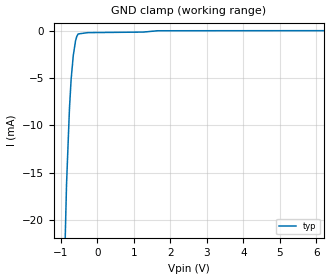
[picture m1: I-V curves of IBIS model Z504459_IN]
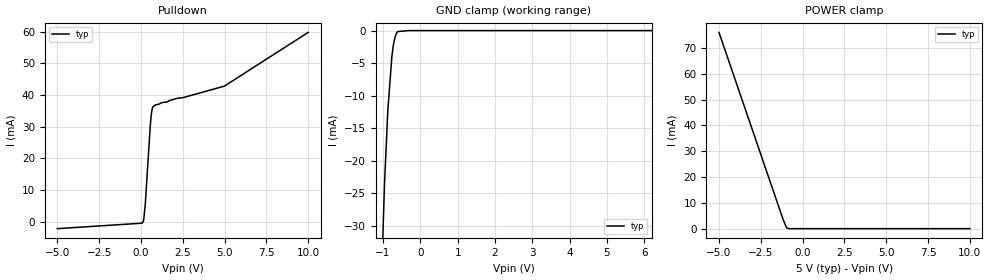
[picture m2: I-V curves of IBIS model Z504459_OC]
| YOU ARE ONLY AUTHORIZED TO USE THIS SOFTWARE
| ACCORDING TO LICENSOR'S LICENSE RESTRICTIONS.
[IBIS Ver] 3.1
[File Name] sn54ls49j.ibs
[File Rev] 2.0
[Source] Measured and created by ICX Technology
[Date] Friday 7/14/00 9:08:15 AM
[Copyright]
| (C) COPYRIGHT 1993-2000
| MENTOR GRAPHICS CORPORATION
| ICX STANDARD LIBRARY, ICX PROJECT MODELING,
| ICX CUSTOM MODELING, ICX VENDOR MODEL
| ALL RIGHTS RESERVED.
| THE FOLLOWING ARE TRADEMARKS OR SERVICE MARKS OF
| MENTOR GRAPHICS CORPORATION:ICX (R), ICX STANDARD
| LIBRARY(R), ICX PROJECT MODELING(R), ICX CUSTOM
| MODELING(R), qualityIBIS(TM), MODELVIEWER(TM),
| AND MODELEDITOR(TM)
| ALL COPIES OF SOFTWARE, INCLUDING BUT NOT LIMITED TO
| ANY MODIFICATIONS, ENHANCEMENTS OR DERIVATIVE WORKS,
| MUST CONTAIN ALL MENTOR GRAPHICS CORPORATION'S
| NOTICES AND LEGENDS, INCLUDING THOSE EMBEDDED IN
| SOFTWARE AND THOSE AFFIXED TO SOFTWARE MEDIUM
| AND CONTAINER, AS RECEIVED FROM MENTOR GRAPHICS
| CORPORATION.
|  ZAP Model Builder 2.7
[Component] SN54LS49J
[Manufacturer] OnSemiconductor
[Package]
| variable   typ   min   max
R_pkg  .21ohms NA NA
L_pkg  4.543nH NA NA
C_pkg  1.8pF NA NA
[Pin] signal_name  model_name  R_pin  L_pin C_pin
1 DB Z504459_IN .22 6.757n 2.434p
2 DC Z504459_IN .212 4.757n 1.941p
3 _BI Z504459_IN .204 3.257n 1.448p
4 DD Z504459_IN .196 2.257n .955p
5 DA Z504459_IN .204 3.257n 1.448p
6 E Z504459_OC .212 4.757n 1.941p
7 GND GND .22 6.757n 2.434p
8 D Z504459_OC .22 6.757n 2.434p
9 C Z504459_OC .212 4.757n 1.941p
10 B Z504459_OC .204 3.257n 1.448p
11 A Z504459_OC .196 2.257n .955p
12 G Z504459_OC .204 3.257n 1.448p
13 F Z504459_OC .212 4.757n 1.941p
14 VCC POWER .22 6.757n 2.434p
| Models and submodels in the file (2): Z504459_IN (Input), Z504459_OC (Open_sink)
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| (C) COPYRIGHT 1993-2000
| MENTOR GRAPHICS CORPORATION
| ICX STANDARD LIBRARY, ICX PROJECT MODELING,
| ICX CUSTOM MODELING, ICX VENDOR MODEL
| ALL RIGHTS RESERVED.
| THE FOLLOWING ARE TRADEMARKS OR SERVICE MARKS OF
| MENTOR GRAPHICS CORPORATION:ICX (R), ICX STANDARD
| LIBRARY(R), ICX PROJECT MODELING(R), ICX CUSTOM
| MODELING(R), qualityIBIS(TM), MODELVIEWER(TM),
| AND MODELEDITOR(TM)
| ALL COPIES OF SOFTWARE, INCLUDING BUT NOT LIMITED TO
| ANY MODIFICATIONS, ENHANCEMENTS OR DERIVATIVE WORKS,
| MUST CONTAIN ALL MENTOR GRAPHICS CORPORATION'S
| NOTICES AND LEGENDS, INCLUDING THOSE EMBEDDED IN
| SOFTWARE AND THOSE AFFIXED TO SOFTWARE MEDIUM
| AND CONTAINER, AS RECEIVED FROM MENTOR GRAPHICS
| CORPORATION.
| Model Application Version 1.89 2/18/99.
[Model] Z504459_IN
Model_type Input
Vinl = 800.0mV
Vinh = 2.000V
C_comp 4.000pF NA NA
| variable typ   min   max
[Voltage Range] 5.000V NA NA
[GND Clamp Reference] 0.000V NA NA
[POWER Clamp Reference] 5.000V NA NA
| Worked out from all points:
|   GND clamp passes 1 mA (typ) near -0.59 V on its own axis
[GND Clamp]
-5V       -673.6mA   NA         NA
-843.8mV  -16.22mA   NA         NA
-763.7mV  -8.215mA   NA         NA
-717.8mV  -5.11mA    NA         NA
-659.2mV  -2.623mA   NA         NA
-597.3mV  -1.067mA   NA         NA
-563.1mV  -603uA     NA         NA
-527.3mV  -347.8uA   NA         NA
-263.7mV  -206.3uA   NA         NA
1.267V    -147uA     NA         NA
1.645V    -8.366uA   NA         NA
10V       11.02uA    NA         NA
[POWER Clamp]
-5V       0A         NA         NA
10V       0A         NA         NA
| (C) COPYRIGHT 1993-2000
| MENTOR GRAPHICS CORPORATION
| ICX STANDARD LIBRARY, ICX PROJECT MODELING,
| ICX CUSTOM MODELING, ICX VENDOR MODEL
| ALL RIGHTS RESERVED.
| THE FOLLOWING ARE TRADEMARKS OR SERVICE MARKS OF
| MENTOR GRAPHICS CORPORATION:ICX (R), ICX STANDARD
| LIBRARY(R), ICX PROJECT MODELING(R), ICX CUSTOM
| MODELING(R), qualityIBIS(TM), MODELVIEWER(TM),
| AND MODELEDITOR(TM)
| ALL COPIES OF SOFTWARE, INCLUDING BUT NOT LIMITED TO
| ANY MODIFICATIONS, ENHANCEMENTS OR DERIVATIVE WORKS,
| MUST CONTAIN ALL MENTOR GRAPHICS CORPORATION'S
| NOTICES AND LEGENDS, INCLUDING THOSE EMBEDDED IN
| SOFTWARE AND THOSE AFFIXED TO SOFTWARE MEDIUM
| AND CONTAINER, AS RECEIVED FROM MENTOR GRAPHICS
| CORPORATION.
| Model Application Version 1.89 2/18/99.
[Model] Z504459_OC
Model_type Open_sink
Vref=5.000V
Rref=2.001kohms
Cref=15.00pF
Vmeas=1.300V
C_comp 8.000pF NA NA
| variable typ   min   max
[Voltage Range] 5.000V NA NA
[POWER Clamp Reference] 5.000V NA NA
[Pullup Reference] 5.000V NA NA
[Pulldown Reference] 0.000V NA NA
[GND Clamp Reference] 0.000V NA NA
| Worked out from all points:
|   slope of the pulldown table from 0 to 0.75 V, typ, clamps not added: 20.3 ohm
|   GND clamp passes 1 mA (typ) near -0.68 V on its own axis
|   POWER clamp passes 1 mA (typ) near -1.01 V on its own axis
[GND Clamp]
-5V       -761.2mA   NA         NA
-961.9mV  -23.62mA   NA         NA
-872.2mV  -12.25mA   NA         NA
-763.6mV  -3.993mA   NA         NA
-727.4mV  -2.317mA   NA         NA
-683.6mV  -1.135mA   NA         NA
-644.6mV  -466.6uA   NA         NA
-606.8mV  -145.1uA   NA         NA
-303.4mV  0A         NA         NA
10V       0A         NA         NA
[Pulldown]
-5V       -2.231mA   NA         NA
68.44mV   -498.6uA   NA         NA
131.9mV   -73.47uA   NA         NA
170mV     770.4uA    NA         NA
263.2mV   5.75mA     NA         NA
556.6mV   30.19mA    NA         NA
629.9mV   34.32mA    NA         NA
687mV     35.96mA    NA         NA
730.7mV   36.37mA    NA         NA
1.225V    37.59mA    NA         NA
4.986V    42.82mA    NA         NA
10V       59.81mA    NA         NA
[POWER Clamp]
-5V       76.05mA    NA         NA
-1.157V   3.392mA    NA         NA
-962mV    322.9uA    NA         NA
-801.7mV  0A         NA         NA
10V       0A         NA         NA
[Ramp]
| variable typ min max
dV/dt_r 2.751/32.77n NA NA
dV/dt_f 2.751/5.404n NA NA
R_load = 250.0Ohms
